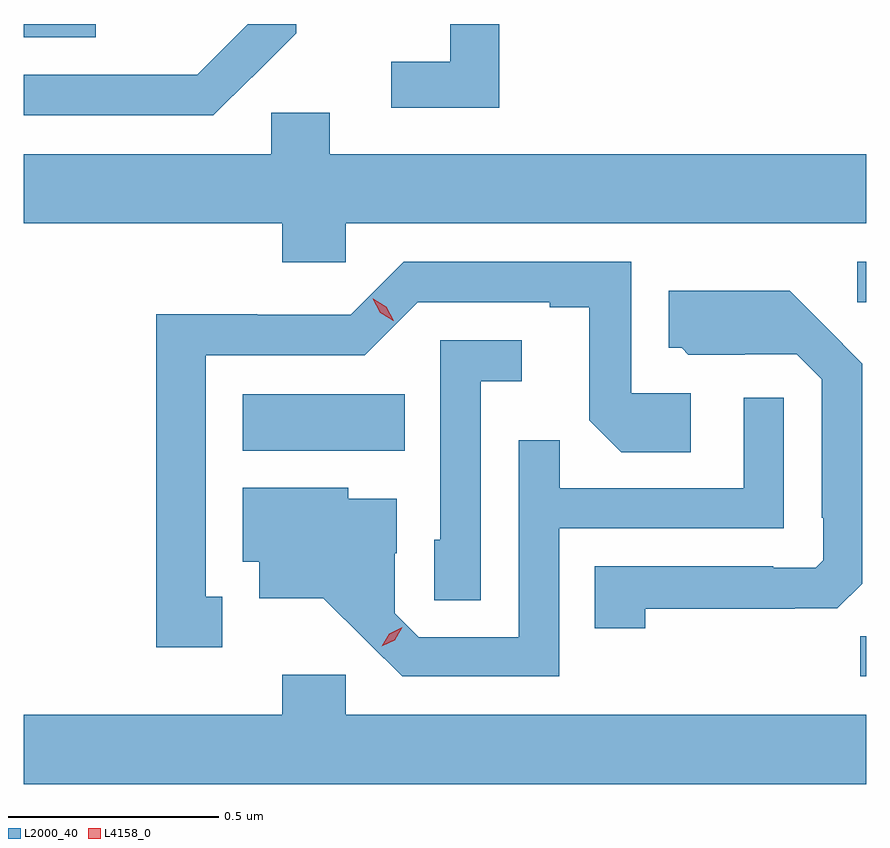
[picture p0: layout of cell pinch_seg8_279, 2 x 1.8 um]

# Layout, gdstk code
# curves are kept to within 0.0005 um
import gdstk
lib = gdstk.Library(unit=1e-6, precision=1e-09)
def R(c, l, rs):  # rectangles x0, y0, x1, y1
    for r in rs: c.add(gdstk.rectangle(r[:2], r[2:], *l))
def P(c, l, *ps):  # polygons
    for p in ps: c.add(gdstk.Polygon(p, *l))
L2000_40 = (2000, 40)
L4158_0 = (4158, 0)

pinch_seg8_279 = lib.new_cell('pinch_seg8_279')
R(pinch_seg8_279, L2000_40, [(533.776,1154.052,533.79,1154.147), (532.31,1154.588,532.694,1154.722), (533.769,1154.94,533.79,1155.036), (531.79,1155.57,531.96,1155.601)])
P(pinch_seg8_279, L2000_40, [(532.331,1155.475),(532.332,1155.474),(532.437,1155.579),(532.437,1155.601),(532.321,1155.601),(532.201,1155.481),(532.097,1155.481),(532.097,1155.48),(531.79,1155.48),(531.79,1155.384),(532.24,1155.384)],
  [(532.919,1155.601),(532.802,1155.601),(532.802,1155.511),(532.662,1155.511),(532.662,1155.402),(532.919,1155.402)],
  [(532.554,1155.128),(533.79,1155.128),(533.79,1155.292),(532.516,1155.292),(532.516,1155.39),(532.377,1155.39),(532.377,1155.292),(531.79,1155.292),(531.79,1155.128),(532.403,1155.128),(532.403,1155.035),(532.554,1155.035)],
  [(532.261,1154.241),(532.222,1154.241),(532.222,1154.814),(532.599,1154.814),(532.725,1154.94),(533.039,1154.94),(533.039,1154.928),(533.133,1154.928),(533.133,1154.66),(533.209,1154.584),(533.374,1154.584),(533.374,1154.724),(533.232,1154.724),(533.232,1155.036),(532.692,1155.036),(532.566,1154.91),(532.344,1154.91),(532.344,1154.912),(532.104,1154.912),(532.104,1154.121),(532.261,1154.121)],
  [(533.265,1154.212),(533.621,1154.212),(533.621,1154.213),(533.722,1154.213),(533.781,1154.272),(533.781,1154.794),(533.609,1154.968),(533.321,1154.968),(533.321,1154.832),(533.352,1154.832),(533.368,1154.816),(533.502,1154.816),(533.502,1154.817),(533.625,1154.817),(533.685,1154.757),(533.685,1154.428),(533.688,1154.428),(533.688,1154.328),(533.67,1154.31),(533.57,1154.31),(533.57,1154.313),(533.146,1154.313),(533.146,1154.166),(533.265,1154.166)],
  [(532.875,1154.753),(532.972,1154.753),(532.972,1154.85),(532.779,1154.85),(532.779,1154.376),(532.764,1154.376),(532.764,1154.233),(532.875,1154.233)],
  [(533.061,1154.403),(533.595,1154.403),(533.595,1154.713),(533.499,1154.713),(533.499,1154.499),(533.063,1154.499),(533.063,1154.612),(532.965,1154.612),(532.965,1154.145),(532.728,1154.145),(532.671,1154.202),(532.671,1154.344),(532.675,1154.344),(532.675,1154.473),(532.56,1154.473),(532.56,1154.5),(532.31,1154.5),(532.31,1154.324),(532.349,1154.324),(532.349,1154.237),(532.501,1154.237),(532.688,1154.052),(533.061,1154.052)],
  [(533.79,1153.96),(532.554,1153.96),(532.554,1154.056),(532.403,1154.056),(532.403,1153.96),(531.79,1153.96),(531.79,1153.796),(533.79,1153.796)])
P(pinch_seg8_279, L4158_0, [(532.64,1154.123),(532.64,1154.123),(532.658,1154.153),(532.688,1154.168),(532.688,1154.168),(532.688,1154.168),(532.671,1154.138),(532.64,1154.123)],
  [(532.667,1154.896),(532.636,1154.915),(532.618,1154.948),(532.618,1154.948),(532.619,1154.948),(532.65,1154.929),(532.668,1154.896),(532.668,1154.896)])

lib.write_gds('pinch_seg8_279.gds')
